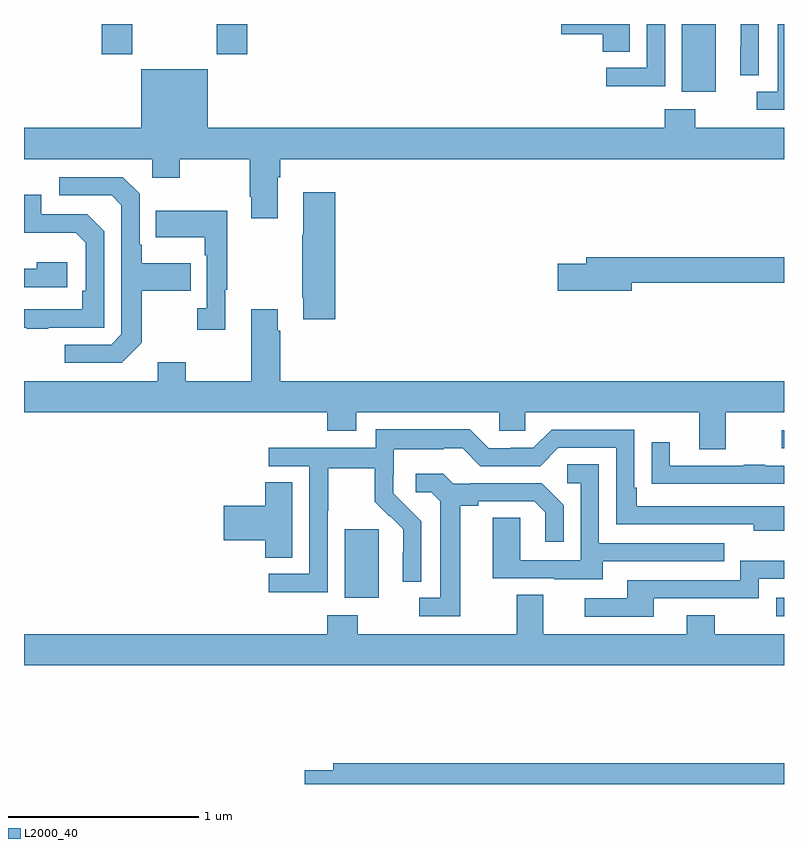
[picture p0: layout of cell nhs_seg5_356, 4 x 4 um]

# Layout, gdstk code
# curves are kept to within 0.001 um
import gdstk
lib = gdstk.Library(unit=1e-6, precision=1e-09)
def R(c, l, rs):  # rectangles x0, y0, x1, y1
    for r in rs: c.add(gdstk.rectangle(r[:2], r[2:], *l))
def P(c, l, *ps):  # polygons
    for p in ps: c.add(gdstk.Polygon(p, *l))
L2000_40 = (2000, 40)

nhs_seg5_356 = lib.new_cell('nhs_seg5_356')
R(nhs_seg5_356, L2000_40, [(136.959,859.683,137,859.779), (134.687,859.778,134.866,860.139), (136.989,860.565,137,860.661), (136.463,862.442,136.642,862.799), (133.409,862.641,133.569,862.799), (134.014,862.641,134.174,862.799)])
P(nhs_seg5_356, L2000_40, [(136.189,862.799),(135.828,862.799),(135.828,862.745),(136.046,862.745),(136.046,862.654),(136.189,862.654)],
  [(137,862.799),(136.967,862.799),(136.967,862.443),(136.857,862.443),(136.857,862.347),(137,862.347)],
  [(136.866,862.799),(136.772,862.799),(136.772,862.682),(136.77,862.682),(136.77,862.528),(136.866,862.528)],
  [(136.374,862.799),(136.278,862.799),(136.278,862.569),(136.065,862.569),(136.065,862.471),(136.374,862.471)],
  [(134.335,861.992),(134.348,861.992),(134.348,862.088),(137,862.088),(137,862.252),(136.533,862.252),(136.533,862.351),(136.373,862.351),(136.373,862.252),(133.966,862.252),(133.966,862.561),(133.616,862.561),(133.616,862.252),(133,862.252),(133,862.088),(133.674,862.088),(133.674,861.989),(133.821,861.989),(133.821,862.088),(134.188,862.088),(134.188,861.889),(134.195,861.889),(134.195,861.777),(134.335,861.777)],
  [(133.621,861.121),(133.621,861.394),(133.877,861.394),(133.877,861.541),(133.621,861.541),(133.621,861.637),(133.608,861.637),(133.608,861.906),(133.521,861.993),(133.185,861.993),(133.185,861.897),(133.461,861.897),(133.512,861.846),(133.512,861.165),(133.458,861.111),(133.215,861.111),(133.215,861.015),(133.515,861.015)],
  [(134.639,861.913),(134.471,861.913),(134.471,861.689),(134.464,861.689),(134.464,861.358),(134.471,861.358),(134.471,861.246),(134.639,861.246)],
  [(133.127,861.201),(133.422,861.201),(133.422,861.708),(133.332,861.798),(133.092,861.798),(133.092,861.9),(133,861.9),(133,861.701),(133.273,861.701),(133.326,861.648),(133.326,861.394),(133.306,861.394),(133.306,861.297),(133,861.297),(133,861.201),(133.015,861.201),(133.015,861.196),(133.127,861.196)],
  [(134.059,861.401),(134.071,861.401),(134.071,861.817),(133.693,861.817),(133.693,861.677),(133.95,861.677),(133.95,861.581),(133.962,861.581),(133.962,861.302),(133.911,861.302),(133.911,861.189),(134.059,861.189)],
  [(136.198,861.436),(137,861.436),(137,861.572),(135.959,861.572),(135.959,861.536),(135.81,861.536),(135.81,861.394),(136.198,861.394)],
  [(133.228,861.544),(133.067,861.544),(133.067,861.51),(133,861.51),(133,861.414),(133.228,861.414)],
  [(136.693,860.756),(137,860.756),(137,860.92),(134.348,860.92),(134.348,861.185),(134.335,861.185),(134.335,861.298),(134.195,861.298),(134.195,860.92),(133.851,860.92),(133.851,861.019),(133.703,861.019),(133.703,860.92),(133,860.92),(133,860.756),(134.597,860.756),(134.597,860.657),(134.749,860.657),(134.749,860.756),(135.501,860.756),(135.501,860.658),(135.639,860.658),(135.639,860.756),(136.553,860.756),(136.553,860.562),(136.693,860.562)],
  [(134.598,860.236),(134.601,860.236),(134.601,860.46),(134.845,860.46),(134.845,860.285),(134.922,860.208),(134.925,860.211),(134.996,860.141),(134.996,860.018),(134.994,860.018),(134.994,859.864),(135.09,859.864),(135.09,860.182),(134.944,860.33),(134.944,860.427),(134.946,860.427),(134.946,860.561),(135.209,860.561),(135.209,860.565),(135.309,860.565),(135.402,860.472),(135.717,860.472),(135.813,860.568),(136.116,860.568),(136.116,860.166),(136.841,860.166),(136.841,860.132),(137,860.132),(137,860.262),(136.225,860.262),(136.225,860.359),(136.212,860.359),(136.212,860.664),(135.777,860.664),(135.681,860.568),(135.563,860.568),(135.563,860.565),(135.447,860.565),(135.347,860.665),(134.85,860.665),(134.85,860.568),(134.289,860.568),(134.289,860.472),(134.502,860.472),(134.502,859.905),(134.289,859.905),(134.289,859.807),(134.598,859.807)],
  [(137,860.475),(136.901,860.475),(136.901,860.48),(136.789,860.48),(136.789,860.475),(136.399,860.475),(136.399,860.599),(136.303,860.599),(136.303,860.38),(136.405,860.38),(136.405,860.379),(137,860.379)],
  [(136.045,859.971),(136.685,859.971),(136.685,860.067),(136.026,860.067),(136.026,860.483),(135.858,860.483),(135.858,860.382),(135.93,860.382),(135.93,859.977),(135.612,859.977),(135.612,860.201),(135.467,860.201),(135.467,859.881),(135.791,859.881),(135.791,859.877),(136.045,859.877)],
  [(135.295,860.264),(135.391,860.264),(135.391,860.286),(135.686,860.286),(135.743,860.229),(135.743,860.073),(135.84,860.073),(135.84,860.266),(135.724,860.382),(135.352,860.382),(135.352,860.379),(135.258,860.379),(135.206,860.431),(135.063,860.431),(135.063,860.334),(135.144,860.334),(135.191,860.287),(135.191,859.779),(135.081,859.779),(135.081,859.683),(135.295,859.683)],
  [(134.413,860.387),(134.27,860.387),(134.27,860.264),(134.052,860.264),(134.052,860.081),(134.27,860.081),(134.27,859.99),(134.413,859.99)],
  [(136.315,859.776),(136.866,859.776),(136.866,859.878),(137,859.878),(137,859.975),(136.77,859.975),(136.77,859.872),(136.175,859.872),(136.175,859.776),(135.951,859.776),(135.951,859.68),(136.315,859.68)],
  [(137,859.588),(136.635,859.588),(136.635,859.687),(136.487,859.687),(136.487,859.588),(135.733,859.588),(135.733,859.796),(135.593,859.796),(135.593,859.588),(134.757,859.588),(134.757,859.687),(134.597,859.687),(134.597,859.588),(133,859.588),(133,859.424),(137,859.424)],
  [(137,858.908),(134.627,858.908),(134.627,858.872),(134.478,858.872),(134.478,858.799),(137,858.799)])

lib.write_gds('nhs_seg5_356.gds')
